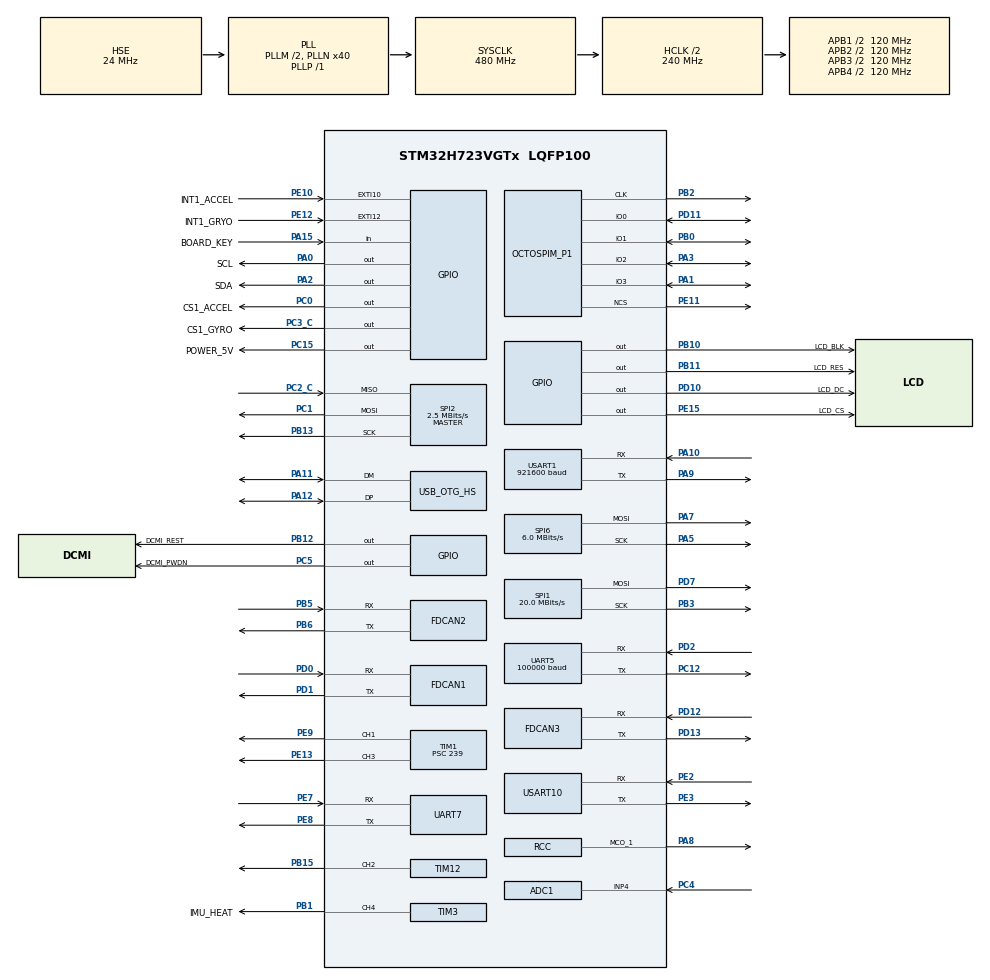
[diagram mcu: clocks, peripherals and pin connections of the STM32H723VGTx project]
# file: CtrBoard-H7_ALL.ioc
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ADC1.Channel-1\#ChannelRegularConversion=ADC_CHANNEL_4
ADC1.ClockPrescaler=ADC_CLOCK_ASYNC_DIV64
ADC1.ContinuousConvMode=ENABLE
ADC1.ConversionDataManagement=ADC_CONVERSIONDATA_DMA_CIRCULAR
ADC1.EnableRegularConversion=ENABLE
ADC1.NbrOfConversionFlag=1
ADC1.OffsetNumber-1\#ChannelRegularConversion=ADC_OFFSET_NONE
ADC1.OffsetSignedSaturation-1\#ChannelRegularConversion=DISABLE
ADC1.Rank-1\#ChannelRegularConversion=1
ADC1.SamplingTime-1\#ChannelRegularConversion=ADC_SAMPLETIME_32CYCLES_5
ADC1.master=1
CORTEX_M7.BaseAddress-Cortex_Memory_Protection_Unit_Region0_Settings=0x24000000
CORTEX_M7.CPU_DCache=Disabled
CORTEX_M7.CPU_ICache=Disabled
CORTEX_M7.Enable-Cortex_Memory_Protection_Unit_Region0_Settings=MPU_REGION_ENABLE
CORTEX_M7.IsBufferable-Cortex_Memory_Protection_Unit_Region0_Settings=MPU_ACCESS_BUFFERABLE
CORTEX_M7.IsCacheable-Cortex_Memory_Protection_Unit_Region0_Settings=MPU_ACCESS_CACHEABLE
CORTEX_M7.MPU_Control=__NULL
CORTEX_M7.Size-Cortex_Memory_Protection_Unit_Region0_Settings=MPU_REGION_SIZE_512B
CORTEX_M7.TypeExtField-Cortex_Memory_Protection_Unit_Region0_Settings=MPU_TEX_LEVEL1
Dma.ADC1.6.Direction=DMA_PERIPH_TO_MEMORY
Dma.ADC1.6.EventEnable=DISABLE
Dma.ADC1.6.FIFOMode=DMA_FIFOMODE_DISABLE
Dma.ADC1.6.Instance=DMA2_Stream2
Dma.ADC1.6.MemDataAlignment=DMA_MDATAALIGN_HALFWORD
Dma.ADC1.6.MemInc=DMA_MINC_ENABLE
Dma.ADC1.6.Mode=DMA_CIRCULAR
Dma.ADC1.6.PeriphDataAlignment=DMA_PDATAALIGN_HALFWORD
Dma.ADC1.6.PeriphInc=DMA_PINC_DISABLE
Dma.ADC1.6.Polarity=HAL_DMAMUX_REQ_GEN_RISING
Dma.ADC1.6.Priority=DMA_PRIORITY_LOW
Dma.ADC1.6.RequestNumber=1
Dma.ADC1.6.SignalID=NONE
Dma.ADC1.6.SyncEnable=DISABLE
Dma.ADC1.6.SyncPolarity=HAL_DMAMUX_SYNC_NO_EVENT
Dma.ADC1.6.SyncRequestNumber=1
Dma.ADC1.6.SyncSignalID=NONE
Dma.Request0=USART1_RX
Dma.Request1=UART5_RX
Dma.Request2=USART10_RX
Dma.Request3=UART7_TX
Dma.Request4=SPI2_RX
Dma.Request5=SPI2_TX
Dma.Request6=ADC1
Dma.SPI2_RX.4.Direction=DMA_PERIPH_TO_MEMORY
Dma.SPI2_RX.4.EventEnable=DISABLE
Dma.SPI2_RX.4.FIFOMode=DMA_FIFOMODE_DISABLE
Dma.SPI2_RX.4.Instance=DMA2_Stream0
Dma.SPI2_RX.4.MemDataAlignment=DMA_MDATAALIGN_BYTE
Dma.SPI2_RX.4.MemInc=DMA_MINC_ENABLE
Dma.SPI2_RX.4.Mode=DMA_NORMAL
Dma.SPI2_RX.4.PeriphDataAlignment=DMA_PDATAALIGN_BYTE
Dma.SPI2_RX.4.PeriphInc=DMA_PINC_DISABLE
Dma.SPI2_RX.4.Polarity=HAL_DMAMUX_REQ_GEN_RISING
Dma.SPI2_RX.4.Priority=DMA_PRIORITY_VERY_HIGH
Dma.SPI2_RX.4.RequestNumber=1
Dma.SPI2_RX.4.SignalID=NONE
Dma.SPI2_RX.4.SyncEnable=DISABLE
Dma.SPI2_RX.4.SyncPolarity=HAL_DMAMUX_SYNC_NO_EVENT
Dma.SPI2_RX.4.SyncRequestNumber=1
Dma.SPI2_RX.4.SyncSignalID=NONE
Dma.SPI2_TX.5.Direction=DMA_MEMORY_TO_PERIPH
Dma.SPI2_TX.5.EventEnable=DISABLE
Dma.SPI2_TX.5.FIFOMode=DMA_FIFOMODE_DISABLE
Dma.SPI2_TX.5.Instance=DMA2_Stream1
Dma.SPI2_TX.5.MemDataAlignment=DMA_MDATAALIGN_BYTE
Dma.SPI2_TX.5.MemInc=DMA_MINC_ENABLE
Dma.SPI2_TX.5.Mode=DMA_NORMAL
Dma.SPI2_TX.5.PeriphDataAlignment=DMA_PDATAALIGN_BYTE
Dma.SPI2_TX.5.PeriphInc=DMA_PINC_DISABLE
Dma.SPI2_TX.5.Polarity=HAL_DMAMUX_REQ_GEN_RISING
Dma.SPI2_TX.5.Priority=DMA_PRIORITY_HIGH
Dma.SPI2_TX.5.RequestNumber=1
Dma.SPI2_TX.5.SignalID=NONE
Dma.SPI2_TX.5.SyncEnable=DISABLE
Dma.SPI2_TX.5.SyncPolarity=HAL_DMAMUX_SYNC_NO_EVENT
Dma.SPI2_TX.5.SyncRequestNumber=1
Dma.SPI2_TX.5.SyncSignalID=NONE
Dma.UART5_RX.1.Direction=DMA_PERIPH_TO_MEMORY
Dma.UART5_RX.1.EventEnable=DISABLE
Dma.UART5_RX.1.FIFOMode=DMA_FIFOMODE_DISABLE
Dma.UART5_RX.1.Instance=DMA1_Stream1
Dma.UART5_RX.1.MemDataAlignment=DMA_MDATAALIGN_BYTE
Dma.UART5_RX.1.MemInc=DMA_MINC_ENABLE
Dma.UART5_RX.1.Mode=DMA_NORMAL
Dma.UART5_RX.1.PeriphDataAlignment=DMA_PDATAALIGN_BYTE
Dma.UART5_RX.1.PeriphInc=DMA_PINC_DISABLE
Dma.UART5_RX.1.Polarity=HAL_DMAMUX_REQ_GEN_RISING
Dma.UART5_RX.1.Priority=DMA_PRIORITY_VERY_HIGH
Dma.UART5_RX.1.RequestNumber=1
Dma.UART5_RX.1.SignalID=NONE
Dma.UART5_RX.1.SyncEnable=DISABLE
Dma.UART5_RX.1.SyncPolarity=HAL_DMAMUX_SYNC_NO_EVENT
Dma.UART5_RX.1.SyncRequestNumber=1
Dma.UART5_RX.1.SyncSignalID=NONE
Dma.UART7_TX.3.Direction=DMA_MEMORY_TO_PERIPH
Dma.UART7_TX.3.EventEnable=DISABLE
Dma.UART7_TX.3.FIFOMode=DMA_FIFOMODE_DISABLE
Dma.UART7_TX.3.Instance=DMA1_Stream3
Dma.UART7_TX.3.MemDataAlignment=DMA_MDATAALIGN_BYTE
Dma.UART7_TX.3.MemInc=DMA_MINC_ENABLE
Dma.UART7_TX.3.Mode=DMA_NORMAL
Dma.UART7_TX.3.PeriphDataAlignment=DMA_PDATAALIGN_BYTE
Dma.UART7_TX.3.PeriphInc=DMA_PINC_DISABLE
Dma.UART7_TX.3.Polarity=HAL_DMAMUX_REQ_GEN_RISING
Dma.UART7_TX.3.Priority=DMA_PRIORITY_MEDIUM
Dma.UART7_TX.3.RequestNumber=1
Dma.UART7_TX.3.SignalID=NONE
Dma.UART7_TX.3.SyncEnable=DISABLE
Dma.UART7_TX.3.SyncPolarity=HAL_DMAMUX_SYNC_NO_EVENT
Dma.UART7_TX.3.SyncRequestNumber=1
Dma.UART7_TX.3.SyncSignalID=NONE
Dma.USART10_RX.2.Direction=DMA_PERIPH_TO_MEMORY
Dma.USART10_RX.2.EventEnable=DISABLE
Dma.USART10_RX.2.FIFOMode=DMA_FIFOMODE_DISABLE
Dma.USART10_RX.2.Instance=DMA1_Stream2
Dma.USART10_RX.2.MemDataAlignment=DMA_MDATAALIGN_BYTE
Dma.USART10_RX.2.MemInc=DMA_MINC_ENABLE
Dma.USART10_RX.2.Mode=DMA_NORMAL
Dma.USART10_RX.2.PeriphDataAlignment=DMA_PDATAALIGN_BYTE
Dma.USART10_RX.2.PeriphInc=DMA_PINC_DISABLE
Dma.USART10_RX.2.Polarity=HAL_DMAMUX_REQ_GEN_RISING
Dma.USART10_RX.2.Priority=DMA_PRIORITY_HIGH
Dma.USART10_RX.2.RequestNumber=1
Dma.USART10_RX.2.SignalID=NONE
Dma.USART10_RX.2.SyncEnable=DISABLE
Dma.USART10_RX.2.SyncPolarity=HAL_DMAMUX_SYNC_NO_EVENT
Dma.USART10_RX.2.SyncRequestNumber=1
Dma.USART10_RX.2.SyncSignalID=NONE
Dma.USART1_RX.0.Direction=DMA_PERIPH_TO_MEMORY
Dma.USART1_RX.0.EventEnable=DISABLE
Dma.USART1_RX.0.FIFOMode=DMA_FIFOMODE_DISABLE
Dma.USART1_RX.0.Instance=DMA1_Stream0
Dma.USART1_RX.0.MemDataAlignment=DMA_MDATAALIGN_BYTE
Dma.USART1_RX.0.MemInc=DMA_MINC_ENABLE
Dma.USART1_RX.0.Mode=DMA_NORMAL
Dma.USART1_RX.0.PeriphDataAlignment=DMA_PDATAALIGN_BYTE
Dma.USART1_RX.0.PeriphInc=DMA_PINC_DISABLE
Dma.USART1_RX.0.Polarity=HAL_DMAMUX_REQ_GEN_RISING
Dma.USART1_RX.0.Priority=DMA_PRIORITY_VERY_HIGH
Dma.USART1_RX.0.RequestNumber=1
Dma.USART1_RX.0.SignalID=NONE
Dma.USART1_RX.0.SyncEnable=DISABLE
Dma.USART1_RX.0.SyncPolarity=HAL_DMAMUX_SYNC_NO_EVENT
Dma.USART1_RX.0.SyncRequestNumber=1
Dma.USART1_RX.0.SyncSignalID=NONE
FDCAN1.AutoRetransmission=ENABLE
FDCAN1.CalculateBaudRateNominal=1000000
FDCAN1.CalculateTimeBitNominal=1000
FDCAN1.CalculateTimeQuantumNominal=12.5
FDCAN1.DataSyncJumpWidth=2
FDCAN1.DataTimeSeg1=13
FDCAN1.DataTimeSeg2=2
FDCAN1.ExtFiltersNbr=0
FDCAN1.FrameFormat=FDCAN_FRAME_FD_BRS
FDCAN1.NominalPrescaler=1
FDCAN1.NominalSyncJumpWidth=20
FDCAN1.NominalTimeSeg1=59
FDCAN1.NominalTimeSeg2=20
FDCAN1.ProtocolException=ENABLE
FDCAN1.RxBuffersNbr=2
FDCAN1.RxFifo0ElmtsNbr=10
FDCAN1.RxFifo1ElmtsNbr=10
FDCAN1.StdFiltersNbr=1
FDCAN1.TxBuffersNbr=10
FDCAN1.TxEventsNbr=10
FDCAN1.TxFifoQueueElmtsNbr=10
FDCAN2.AutoRetransmission=ENABLE
FDCAN2.CalculateBaudRateNominal=1000000
FDCAN2.CalculateTimeBitNominal=1000
FDCAN2.CalculateTimeQuantumNominal=12.5
FDCAN2.DataSyncJumpWidth=2
FDCAN2.DataTimeSeg1=13
FDCAN2.DataTimeSeg2=2
FDCAN2.ExtFiltersNbr=0
FDCAN2.FrameFormat=FDCAN_FRAME_FD_BRS
FDCAN2.MessageRAMOffset=1024
FDCAN2.NominalPrescaler=1
FDCAN2.NominalSyncJumpWidth=20
FDCAN2.NominalTimeSeg1=59
FDCAN2.NominalTimeSeg2=20
FDCAN2.ProtocolException=ENABLE
FDCAN2.RxBuffersNbr=2
FDCAN2.RxFifo0ElmtsNbr=10
FDCAN2.RxFifo1ElmtsNbr=10
FDCAN2.StdFiltersNbr=1
FDCAN2.TxBuffersNbr=10
FDCAN2.TxEventsNbr=10
FDCAN2.TxFifoQueueElmtsNbr=10
FDCAN3.AutoRetransmission=ENABLE
FDCAN3.CalculateBaudRateNominal=1000000
FDCAN3.CalculateTimeBitNominal=1000
FDCAN3.CalculateTimeQuantumNominal=12.5
FDCAN3.DataSyncJumpWidth=2
FDCAN3.DataTimeSeg1=13
FDCAN3.DataTimeSeg2=2
FDCAN3.ExtFiltersNbr=0
FDCAN3.FrameFormat=FDCAN_FRAME_FD_BRS
FDCAN3.MessageRAMOffset=2048
FDCAN3.NominalPrescaler=1
FDCAN3.NominalSyncJumpWidth=20
FDCAN3.NominalTimeSeg1=59
FDCAN3.NominalTimeSeg2=20
FDCAN3.ProtocolException=ENABLE
FDCAN3.RxBuffersNbr=2
FDCAN3.RxFifo0ElmtsNbr=10
FDCAN3.RxFifo1ElmtsNbr=10
FDCAN3.StdFiltersNbr=1
FDCAN3.TxBuffersNbr=10
FDCAN3.TxEventsNbr=10
FDCAN3.TxFifoQueueElmtsNbr=10
FREERTOS.INCLUDE_eTaskGetState=1
FREERTOS.INCLUDE_uxTaskGetStackHighWaterMark=1
FREERTOS.INCLUDE_vTaskDelayUntil=1
FREERTOS.INCLUDE_xQueueGetMutexHolder=1
FREERTOS.INCLUDE_xTaskGetCurrentTaskHandle=1
FREERTOS.INCLUDE_xTimerPendFunctionCall=1
FREERTOS.Tasks01=AlgorithmTask,2,2048,AlgorithmTask_Entry,As weak,NULL,Dynamic,NULL,NULL;ChassisTask,2,2048,ChassisTask_Entry,As weak,NULL,Dynamic,NULL,NULL;CmdTask,2,2048,CmdTask_Entry,As weak,NULL,Dynamic,NULL,NULL;DMmotorTask,2,2048,DMmotorTask_Entry,As weak,NULL,Dynamic,NULL,NULL;RefereeTask,2,2048,RefereeTask_Entry,As weak,NULL,Dynamic,NULL,NULL;TranmissionTask,2,2048,TransmissionTask_Entry,As weak,NULL,Dynamic,NULL,NULL;UsartTask,2,2048,UsartTask_Entry,As weak,NULL,Dynamic,NULL,NULL;InsTask,3,2048,InsTask_Entry,As weak,NULL,Dynamic,NULL,NULL;DJmotorTask,2,1024,DJmotorTask_Entry,As weak,NULL,Dynamic,NULL,NULL;PowerTask,2,128,PowerTask_Entry,As weak,NULL,Dynamic,NULL,NULL
FREERTOS.configENABLE_FPU=1
FREERTOS.configTOTAL_HEAP_SIZE=200000
FREERTOS.configUSE_COUNTING_SEMAPHORES=1
FREERTOS.configUSE_RECURSIVE_MUTEXES=1
FREERTOS.configUSE_TIMERS=1
FREERTOS.configUSE_TRACE_FACILITY=1
Mcu.Family=STM32H7
Mcu.Name=STM32H723VGTx
Mcu.Package=LQFP100
NVIC.DMA1_Stream0_IRQn=true\:5\:0\:false\:false\:true\:true\:false\:true\:true
NVIC.DMA1_Stream1_IRQn=true\:5\:0\:false\:false\:true\:true\:false\:true\:true
NVIC.DMA1_Stream2_IRQn=true\:5\:0\:false\:false\:true\:true\:false\:true\:true
NVIC.DMA1_Stream3_IRQn=true\:5\:0\:false\:false\:true\:true\:false\:true\:true
NVIC.DMA2_Stream0_IRQn=true\:5\:0\:false\:false\:true\:false\:false\:true\:true
NVIC.DMA2_Stream1_IRQn=true\:5\:0\:false\:false\:true\:false\:false\:true\:true
NVIC.DMA2_Stream2_IRQn=true\:5\:0\:false\:false\:true\:false\:false\:true\:true
NVIC.FDCAN1_IT0_IRQn=true\:5\:0\:false\:false\:true\:true\:true\:true\:true
NVIC.FDCAN1_IT1_IRQn=true\:5\:0\:false\:false\:true\:true\:true\:true\:true
NVIC.FDCAN2_IT0_IRQn=true\:5\:0\:false\:false\:true\:true\:true\:true\:true
NVIC.FDCAN2_IT1_IRQn=true\:5\:0\:false\:false\:true\:true\:true\:true\:true
NVIC.FDCAN3_IT0_IRQn=true\:5\:0\:false\:false\:true\:true\:true\:true\:true
NVIC.FDCAN3_IT1_IRQn=true\:5\:0\:false\:false\:true\:true\:true\:true\:true
NVIC.FDCAN_CAL_IRQn=true\:5\:0\:false\:false\:true\:true\:true\:true\:true
NVIC.OTG_HS_IRQn=true\:5\:0\:false\:false\:true\:true\:true\:true\:true
NVIC.PriorityGroup=NVIC_PRIORITYGROUP_4
NVIC.SPI2_IRQn=true\:5\:0\:false\:false\:true\:true\:false\:true\:true
NVIC.TIM23_IRQn=true\:15\:0\:false\:false\:true\:false\:false\:true\:true
NVIC.TimeBase=TIM23_IRQn
NVIC.TimeBaseIP=TIM23
NVIC.UART5_IRQn=true\:5\:0\:false\:false\:true\:true\:true\:true\:true
NVIC.UART7_IRQn=true\:5\:0\:false\:false\:true\:true\:true\:true\:true
NVIC.USART10_IRQn=true\:5\:0\:false\:false\:true\:true\:true\:true\:true
NVIC.USART1_IRQn=true\:5\:0\:false\:false\:true\:true\:true\:true\:true
OCTOSPI2.ClockMode=HAL_OSPI_CLOCK_MODE_3
OCTOSPI2.ClockPrescaler=3
OCTOSPI2.DeviceSize=23
OCTOSPI2.FifoThreshold=8
OCTOSPI2.SampleShifting=HAL_OSPI_SAMPLE_SHIFTING_HALFCYCLE
PA0.GPIO_Label=SCL
PA0.GPIO_PuPd=GPIO_PULLUP
PA0.Signal=GPIO_Output
PA1.Mode=OCTOSPI2_IOL_Port1L
PA1.Signal=OCTOSPIM_P1_IO3
PA10.GPIO_Speed=GPIO_SPEED_FREQ_VERY_HIGH
PA10.Mode=Asynchronous
PA10.Signal=USART1_RX
PA11.Mode=Device_Only_FS
PA11.Signal=USB_OTG_HS_DM
PA12.Mode=Device_Only_FS
PA12.Signal=USB_OTG_HS_DP
PA13(JTMS/SWDIO).Mode=Serial_Wire
PA13(JTMS/SWDIO).Signal=DEBUG_JTMS-SWDIO
PA14(JTCK/SWCLK).Mode=Serial_Wire
PA14(JTCK/SWCLK).Signal=DEBUG_JTCK-SWCLK
PA15(JTDI).GPIO_Label=BOARD_KEY
PA15(JTDI).Signal=GPIO_Input
PA2.GPIO_Label=SDA
PA2.GPIO_PuPd=GPIO_PULLUP
PA2.Signal=GPIO_Output
PA3.Mode=OCTOSPI2_IOL_Port1L
PA3.Signal=OCTOSPIM_P1_IO2
PA5.GPIO_Speed=GPIO_SPEED_FREQ_HIGH
PA5.Mode=TX_Only_Simplex_Unidirect_Master
PA5.Signal=SPI6_SCK
PA7.GPIO_Speed=GPIO_SPEED_FREQ_HIGH
PA7.Mode=TX_Only_Simplex_Unidirect_Master
PA7.Signal=SPI6_MOSI
PA8.Mode=Clock-out-1
PA8.Signal=RCC_MCO_1
PA9.GPIO_Speed=GPIO_SPEED_FREQ_VERY_HIGH
PA9.Mode=Asynchronous
PA9.Signal=USART1_TX
PB0.Mode=OCTOSPI2_IOL_Port1L
PB0.Signal=OCTOSPIM_P1_IO1
PB1.GPIO_Label=IMU_HEAT
PB1.GPIO_PuPd=GPIO_PULLUP
PB1.GPIO_Speed=GPIO_SPEED_FREQ_VERY_HIGH
PB1.Signal=S_TIM3_CH4
PB10.GPIO_Label=LCD_BLK
PB10.GPIO_Speed=GPIO_SPEED_FREQ_HIGH
PB10.Signal=GPIO_Output
PB11.GPIO_Label=LCD_RES
PB11.GPIO_Speed=GPIO_SPEED_FREQ_HIGH
PB11.Signal=GPIO_Output
PB12.GPIO_Label=DCMI_REST
PB12.GPIO_PuPd=GPIO_PULLUP
PB12.GPIO_Speed=GPIO_SPEED_FREQ_VERY_HIGH
PB12.PinState=GPIO_PIN_SET
PB12.Signal=GPIO_Output
PB13.GPIO_Speed=GPIO_SPEED_FREQ_VERY_HIGH
PB13.Mode=Full_Duplex_Master
PB13.Signal=SPI2_SCK
PB15.Signal=S_TIM12_CH2
PB2.Mode=O2_P1_CLK
PB2.Signal=OCTOSPIM_P1_CLK
PB3(JTDO/TRACESWO).GPIO_Speed=GPIO_SPEED_FREQ_HIGH
PB3(JTDO/TRACESWO).Mode=TX_Only_Simplex_Unidirect_Master
PB3(JTDO/TRACESWO).Signal=SPI1_SCK
PB5.GPIO_Speed=GPIO_SPEED_FREQ_VERY_HIGH
PB5.Mode=FDCAN_Activate
PB5.Signal=FDCAN2_RX
PB6.GPIO_FM6=__NULL
PB6.GPIO_Speed=GPIO_SPEED_FREQ_VERY_HIGH
PB6.Mode=FDCAN_Activate
PB6.Signal=FDCAN2_TX
PB8.Signal=I2C1_SCL
PB9.Signal=I2C1_SDA
PC0.GPIO_Label=CS1_ACCEL
PC0.GPIO_PuPd=GPIO_PULLUP
PC0.GPIO_Speed=GPIO_SPEED_FREQ_VERY_HIGH
PC0.PinState=GPIO_PIN_SET
PC0.Signal=GPIO_Output
PC1.GPIO_Speed=GPIO_SPEED_FREQ_VERY_HIGH
PC1.Mode=Full_Duplex_Master
PC1.Signal=SPI2_MOSI
PC12.GPIO_Speed=GPIO_SPEED_FREQ_VERY_HIGH
PC12.Mode=Asynchronous
PC12.Signal=UART5_TX
PC15-OSC32_OUT.GPIO_Label=POWER_5V
PC15-OSC32_OUT.GPIO_PuPd=GPIO_PULLUP
PC15-OSC32_OUT.PinState=GPIO_PIN_SET
PC15-OSC32_OUT.Signal=GPIO_Output
PC2_C.GPIO_Speed=GPIO_SPEED_FREQ_VERY_HIGH
PC2_C.Mode=Full_Duplex_Master
PC2_C.Signal=SPI2_MISO
PC3_C.GPIO_Label=CS1_GYRO
PC3_C.GPIO_PuPd=GPIO_PULLUP
PC3_C.GPIO_Speed=GPIO_SPEED_FREQ_VERY_HIGH
PC3_C.PinState=GPIO_PIN_SET
PC3_C.Signal=GPIO_Output
PC4.Signal=ADCx_INP4
PC5.GPIO_Label=DCMI_PWDN
PC5.GPIO_PuPd=GPIO_NOPULL
PC5.GPIO_Speed=GPIO_SPEED_FREQ_VERY_HIGH
PC5.PinState=GPIO_PIN_SET
PC5.Signal=GPIO_Output
PD0.GPIO_Speed=GPIO_SPEED_FREQ_VERY_HIGH
PD0.Mode=FDCAN_Activate
PD0.Signal=FDCAN1_RX
PD1.GPIO_Speed=GPIO_SPEED_FREQ_VERY_HIGH
PD1.Mode=FDCAN_Activate
PD1.Signal=FDCAN1_TX
PD10.GPIO_Label=LCD_DC
PD10.GPIO_Speed=GPIO_SPEED_FREQ_HIGH
PD10.Signal=GPIO_Output
PD11.Mode=OCTOSPI2_IOL_Port1L
PD11.Signal=OCTOSPIM_P1_IO0
PD12.GPIO_Speed=GPIO_SPEED_FREQ_VERY_HIGH
PD12.Mode=FDCAN_Activate
PD12.Signal=FDCAN3_RX
PD13.GPIO_Speed=GPIO_SPEED_FREQ_VERY_HIGH
PD13.Mode=FDCAN_Activate
PD13.Signal=FDCAN3_TX
PD2.GPIO_Speed=GPIO_SPEED_FREQ_VERY_HIGH
PD2.Mode=Asynchronous
PD2.Signal=UART5_RX
PD4.Signal=USART2_DE
PD5.Signal=USART2_TX
PD6.Signal=USART2_RX
PD7.GPIO_Speed=GPIO_SPEED_FREQ_HIGH
PD7.Mode=TX_Only_Simplex_Unidirect_Master
PD7.Signal=SPI1_MOSI
PE10.GPIO_Label=INT1_ACCEL
PE10.GPIO_PuPd=GPIO_PULLUP
PE10.Signal=GPXTI10
PE11.Mode=OCTOSPI2_Port1_NCS
PE11.Signal=OCTOSPIM_P1_NCS
PE12.GPIO_Label=INT1_GRYO
PE12.GPIO_PuPd=GPIO_PULLUP
PE12.Signal=GPXTI12
PE13.Signal=S_TIM1_CH3
PE15.GPIO_Label=LCD_CS
PE15.GPIO_Speed=GPIO_SPEED_FREQ_HIGH
PE15.Signal=GPIO_Output
PE2.GPIO_Speed=GPIO_SPEED_FREQ_VERY_HIGH
PE2.Mode=Asynchronous
PE2.Signal=USART10_RX
PE3.GPIO_Speed=GPIO_SPEED_FREQ_VERY_HIGH
PE3.Mode=Asynchronous
PE3.Signal=USART10_TX
PE7.GPIO_Speed=GPIO_SPEED_FREQ_VERY_HIGH
PE7.Mode=Asynchronous
PE7.Signal=UART7_RX
PE8.GPIO_Speed=GPIO_SPEED_FREQ_VERY_HIGH
PE8.Mode=Asynchronous
PE8.Signal=UART7_TX
PE9.Signal=S_TIM1_CH1
PH0-OSC_IN.Mode=HSE-External-Oscillator
PH0-OSC_IN.Signal=RCC_OSC_IN
PH1-OSC_OUT.Mode=HSE-External-Oscillator
PH1-OSC_OUT.Signal=RCC_OSC_OUT
ProjectManager.HeapSize=0x2000
ProjectManager.StackSize=0x2000
ProjectManager.TargetToolchain=STM32CubeIDE
RCC.ADCFreq_Value=96000000
RCC.APB1Freq_Value=120000000
RCC.APB2Freq_Value=120000000
RCC.APB3Freq_Value=120000000
RCC.APB4Freq_Value=120000000
RCC.CortexFreq_Value=480000000
RCC.D1PPRE=RCC_APB3_DIV2
RCC.D2PPRE1=RCC_APB1_DIV2
RCC.D2PPRE2=RCC_APB2_DIV2
RCC.D3PPRE=RCC_APB4_DIV2
RCC.DIVM1=2
RCC.DIVM2=2
RCC.DIVM3=2
RCC.DIVN1=40
RCC.DIVN2=16
RCC.DIVN3=16
RCC.DIVP1=1
RCC.DIVQ1=6
RCC.EnbaleCSS=false
RCC.HCLKFreq_Value=240000000
RCC.HPRE=RCC_HCLK_DIV2
RCC.HSE_VALUE=24000000
RCC.PLL2FRACN=0
RCC.PLL2_VCI_Range-AdvancedSettings=RCC_PLL2VCIRANGE_0
RCC.PLL2_VCO_SEL-AdvancedSettings=RCC_PLL2VCOMEDIUM
RCC.PLL3FRACN=0
RCC.PLL3_VCO_SEL-AdvancedSettings=RCC_PLL3VCOMEDIUM
RCC.PLLFRACN=0
RCC.PLLSourceVirtual=RCC_PLLSOURCE_HSE
RCC.SPI6CLockSelection=RCC_SPI6CLKSOURCE_HSE
RCC.SYSCLKFreq_VALUE=480000000
RCC.SYSCLKSource=RCC_SYSCLKSOURCE_PLLCLK
RCC.USBCLockSelection=RCC_USBCLKSOURCE_HSI48
RCC.USBFreq_Value=48000000
SH.ADCx_INP4.0=ADC1_INP4,IN4-Single-Ended
SH.S_TIM12_CH2.0=TIM12_CH2,PWM Generation2 CH2
SH.S_TIM1_CH1.0=TIM1_CH1,PWM Generation1 CH1
SH.S_TIM1_CH3.0=TIM1_CH3,PWM Generation3 CH3
SH.S_TIM3_CH4.0=TIM3_CH4,PWM Generation4 CH4
SPI1.BaudRatePrescaler=SPI_BAUDRATEPRESCALER_4
SPI1.CLKPolarity=SPI_POLARITY_HIGH
SPI1.CalculateBaudRate=20.0 MBits/s
SPI1.DataSize=SPI_DATASIZE_8BIT
SPI1.Direction=SPI_DIRECTION_2LINES_TXONLY
SPI1.Mode=SPI_MODE_MASTER
SPI1.VirtualType=VM_MASTER
SPI2.BaudRatePrescaler=SPI_BAUDRATEPRESCALER_32
SPI2.CLKPhase=SPI_PHASE_2EDGE
SPI2.CLKPolarity=SPI_POLARITY_HIGH
SPI2.CalculateBaudRate=2.5 MBits/s
SPI2.DataSize=SPI_DATASIZE_8BIT
SPI2.Direction=SPI_DIRECTION_2LINES
SPI2.Mode=SPI_MODE_MASTER
SPI2.VirtualType=VM_MASTER
SPI6.BaudRatePrescaler=SPI_BAUDRATEPRESCALER_4
SPI6.CLKPhase=SPI_PHASE_2EDGE
SPI6.CalculateBaudRate=6.0 MBits/s
SPI6.DataSize=SPI_DATASIZE_8BIT
SPI6.Direction=SPI_DIRECTION_2LINES_TXONLY
SPI6.FifoThreshold=SPI_FIFO_THRESHOLD_02DATA
SPI6.Mode=SPI_MODE_MASTER
SPI6.VirtualType=VM_MASTER
STMicroelectronics.X-CUBE-ALGOBUILD.1.4.0.LibraryCcDSPOoLibraryJjDSPOoLibrary=true
TIM1.Channel-PWM\ Generation1\ CH1=TIM_CHANNEL_1
TIM1.Channel-PWM\ Generation3\ CH3=TIM_CHANNEL_3
TIM1.Period=19999
TIM1.Prescaler=239
TIM1.Pulse-PWM\ Generation1\ CH1=500
TIM12.Channel-PWM\ Generation2\ CH2=TIM_CHANNEL_2
TIM12.Prescaler=240-1
TIM2.AutoReloadPreload=TIM_AUTORELOAD_PRELOAD_ENABLE
TIM2.Period=1000
TIM2.Prescaler=71
TIM3.AutoReloadPreload=TIM_AUTORELOAD_PRELOAD_DISABLE
TIM3.Channel-PWM\ Generation4\ CH4=TIM_CHANNEL_4
TIM3.Period=2000-1
TIM3.Prescaler=240-1
UART5.BaudRate=100000
UART5.Parity=PARITY_EVEN
UART5.StopBits=UART_STOPBITS_2
UART5.WordLength=WORDLENGTH_9B
USART1.BaudRate=921600
USART1.VirtualMode-Asynchronous=VM_ASYNC
USART10.VirtualMode=VM_ASYNC
USB_DEVICE.CLASS_NAME_HS=CDC
USB_DEVICE.VirtualMode=Cdc
USB_DEVICE.VirtualModeHS=Cdc_HS
USB_OTG_HS.VirtualMode-Device_Only_FS=Device_Only_FS
VP_FREERTOS_VS_CMSIS_V1.Mode=CMSIS_V1
VP_MEMORYMAP_VS_MEMORYMAP.Mode=CurAppReg
VP_OCTOSPI2_VS_quad.Mode=quad_mode
VP_STMicroelectronics.X-CUBE-ALGOBUILD_VS_DSPOoLibraryJjLibrary_1.4.0_1.4.0.Mode=DSPOoLibraryJjLibrary
VP_SYS_VS_tim23.Mode=TIM23
VP_TIM12_VS_ClockSourceINT.Mode=Internal
VP_TIM1_VS_ClockSourceINT.Mode=Internal
VP_TIM2_VS_ClockSourceINT.Mode=Internal
VP_TIM3_VS_ClockSourceINT.Mode=Internal
VP_USB_DEVICE_VS_USB_DEVICE_CDC_HS.Mode=CDC_HS
board=custom

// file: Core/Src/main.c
/* USER CODE BEGIN Header */
/**
  ******************************************************************************
  * @file           : main.c
  * @brief          : Main program body
  ******************************************************************************
  * @attention
  *
  * Copyright (c) 2025 STMicroelectronics.
  * All rights reserved.
  *
  * This software is licensed under terms that can be found in the LICENSE file
  * in the root directory of this software component.
  * If no LICENSE file comes with this software, it is provided AS-IS.
  *
  ******************************************************************************
  */
/* USER CODE END Header */
#include "main.h"
#include "cmsis_os.h"
#include "adc.h"
#include "dma.h"
#include "fdcan.h"
#include "memorymap.h"
#include "octospi.h"
#include "spi.h"
#include "tim.h"
#include "usart.h"
#include "usb_device.h"
#include "gpio.h"

/* USER CODE BEGIN Includes */
#include "drv_dwt.h"
#include "bsp_fdcan.h"
#include "dm_motor_ctrl.h"
#include "BMI088driver.h"
#include "robot.h"
#include "bsp_log.h"
/* USER CODE END Includes */

/* USER CODE BEGIN PTD */

QueueHandle_t xKalmanOneQueue = NULL; // 队列句柄
QueueHandle_t xControlQueue = NULL; // 队列句柄
/* USER CODE END PTD */

/* USER CODE BEGIN PD */
#define CONTROL_QUEUE_LENGTH 12    // 队列长度，可根据需要调整
#define CONTROL_QUEUE_ITEM_SIZE sizeof(float)*6 // 每个队列元素占用的字节数

#define KalmanOne_QUEUE_LENGTH 12    // 队列长度，可根据需要调整
#define KalmanOne_QUEUE_ITEM_SIZE sizeof(float)*6 // 每个队列元素占用的字节数
/* USER CODE END PD */

void SystemClock_Config(void);
void MX_FREERTOS_Init(void);

int main(void)
{

  /* MCU Configuration--------------------------------------------------------*/

  /* Reset of all peripherals, Initializes the Flash interface and the Systick. */
  HAL_Init();

  /* Configure the system clock */
  SystemClock_Config();

  /* Initialize all configured peripherals */
  MX_GPIO_Init();
  MX_DMA_Init();
  MX_FDCAN1_Init();
  MX_FDCAN2_Init();
  MX_FDCAN3_Init();
  MX_USART1_UART_Init();
  MX_UART5_Init();
  MX_USART10_UART_Init();
  MX_UART7_Init();
  MX_SPI2_Init();
  MX_TIM3_Init();
  MX_SPI6_Init();
  MX_TIM12_Init();
  MX_ADC1_Init();
  MX_SPI1_Init();
  MX_TIM2_Init();
  MX_OCTOSPI2_Init();
  MX_TIM1_Init();
  /* USER CODE BEGIN 2 */
    MX_USB_DEVICE_Init();
    dwt_init();
    BMI088_init(&hspi2);  // 陀螺仪已经校准
    HAL_TIM_PWM_Start(&htim1, TIM_CHANNEL_3);//初始化pwm
    HAL_TIM_PWM_Start(&htim1, TIM_CHANNEL_1);
    // 达妙4310驱动设置
    HAL_GPIO_WritePin(GPIOC, GPIO_PIN_14, GPIO_PIN_SET);
    HAL_GPIO_WritePin(GPIOC, GPIO_PIN_15, GPIO_PIN_SET);
    bsp_fdcan_set_baud(&hfdcan1, CAN_CLASS, CAN_BR_1M);
    bsp_fdcan_set_baud(&hfdcan2, CAN_CLASS, CAN_BR_1M);
    bsp_fdcan_set_baud(&hfdcan3, CAN_CLASS, CAN_BR_1M);
    bsp_can_init();
    dm_motor_init();
    BSPLogInit();
    robot_init();
    LOGINFO("START");
    // 创建队列
    xKalmanOneQueue = xQueueCreate(KalmanOne_QUEUE_LENGTH, KalmanOne_QUEUE_ITEM_SIZE);
    if (xKalmanOneQueue == NULL) {
        // 队列创建失败，进入错误处理
        Error_Handler();
    }

    xControlQueue = xQueueCreate(CONTROL_QUEUE_LENGTH, CONTROL_QUEUE_ITEM_SIZE);
    if (xControlQueue == NULL) {
        // 队列创建失败，进入错误处理
        Error_Handler();
    }

  /* USER CODE END 2 */

  /* Call init function for freertos objects (in cmsis_os2.c) */
  MX_FREERTOS_Init();

  /* Start scheduler */
  osKernelStart();

  /* We should never get here as control is now taken by the scheduler */

  /* Infinite loop */
  while (1)
  {

  }
}

void SystemClock_Config(void)
{
  RCC_OscInitTypeDef RCC_OscInitStruct = {0};
  RCC_ClkInitTypeDef RCC_ClkInitStruct = {0};

  /** Supply configuration update enable
  */
  HAL_PWREx_ConfigSupply(PWR_LDO_SUPPLY);

  /** Configure the main internal regulator output voltage
  */
  __HAL_PWR_VOLTAGESCALING_CONFIG(PWR_REGULATOR_VOLTAGE_SCALE0);

  while(!__HAL_PWR_GET_FLAG(PWR_FLAG_VOSRDY)) {}

  /** Initializes the RCC Oscillators according to the specified parameters
  * in the RCC_OscInitTypeDef structure.
  */
  RCC_OscInitStruct.OscillatorType = RCC_OSCILLATORTYPE_HSI48|RCC_OSCILLATORTYPE_HSI
                              |RCC_OSCILLATORTYPE_HSE;
  RCC_OscInitStruct.HSEState = RCC_HSE_ON;
  RCC_OscInitStruct.HSIState = RCC_HSI_DIV1;
  RCC_OscInitStruct.HSICalibrationValue = 64;
  RCC_OscInitStruct.HSI48State = RCC_HSI48_ON;
  RCC_OscInitStruct.PLL.PLLState = RCC_PLL_ON;
  RCC_OscInitStruct.PLL.PLLSource = RCC_PLLSOURCE_HSE;
  RCC_OscInitStruct.PLL.PLLM = 2;
  RCC_OscInitStruct.PLL.PLLN = 40;
  RCC_OscInitStruct.PLL.PLLP = 1;
  RCC_OscInitStruct.PLL.PLLQ = 6;
  RCC_OscInitStruct.PLL.PLLR = 2;
  RCC_OscInitStruct.PLL.PLLRGE = RCC_PLL1VCIRANGE_3;
  RCC_OscInitStruct.PLL.PLLVCOSEL = RCC_PLL1VCOWIDE;
  RCC_OscInitStruct.PLL.PLLFRACN = 0;
  if (HAL_RCC_OscConfig(&RCC_OscInitStruct) != HAL_OK)
  {
    Error_Handler();
  }

  /** Initializes the CPU, AHB and APB buses clocks
  */
  RCC_ClkInitStruct.ClockType = RCC_CLOCKTYPE_HCLK|RCC_CLOCKTYPE_SYSCLK
                              |RCC_CLOCKTYPE_PCLK1|RCC_CLOCKTYPE_PCLK2
                              |RCC_CLOCKTYPE_D3PCLK1|RCC_CLOCKTYPE_D1PCLK1;
  RCC_ClkInitStruct.SYSCLKSource = RCC_SYSCLKSOURCE_PLLCLK;
  RCC_ClkInitStruct.SYSCLKDivider = RCC_SYSCLK_DIV1;
  RCC_ClkInitStruct.AHBCLKDivider = RCC_HCLK_DIV2;
  RCC_ClkInitStruct.APB3CLKDivider = RCC_APB3_DIV2;
  RCC_ClkInitStruct.APB1CLKDivider = RCC_APB1_DIV2;
  RCC_ClkInitStruct.APB2CLKDivider = RCC_APB2_DIV2;
  RCC_ClkInitStruct.APB4CLKDivider = RCC_APB4_DIV2;

  if (HAL_RCC_ClockConfig(&RCC_ClkInitStruct, FLASH_LATENCY_3) != HAL_OK)
  {
    Error_Handler();
  }
  HAL_RCC_MCOConfig(RCC_MCO1, RCC_MCO1SOURCE_HSI, RCC_MCODIV_1);
}

void HAL_TIM_PeriodElapsedCallback(TIM_HandleTypeDef *htim)
{
  if (htim->Instance == TIM23)
  {
    HAL_IncTick();
  }
}

void Error_Handler(void)
{
  __disable_irq();
  while (1)
  {
  }
}

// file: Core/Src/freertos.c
/* USER CODE BEGIN Header */
/**
  ******************************************************************************
  * File Name          : freertos.c
  * Description        : Code for freertos applications
  ******************************************************************************
  * @attention
  *
  * Copyright (c) 2025 STMicroelectronics.
  * All rights reserved.
  *
  * This software is licensed under terms that can be found in the LICENSE file
  * in the root directory of this software component.
  * If no LICENSE file comes with this software, it is provided AS-IS.
  *
  ******************************************************************************
  */
/* USER CODE END Header */

#include "FreeRTOS.h"
#include "task.h"
#include "main.h"
#include "cmsis_os.h"

osThreadId AlgorithmTaskHandle;
osThreadId ChassisTaskHandle;
osThreadId CmdTaskHandle;
osThreadId DMmotorTaskHandle;
osThreadId RefereeTaskHandle;
osThreadId TranmissionTaskHandle;
osThreadId UsartTaskHandle;
osThreadId InsTaskHandle;
osThreadId DJmotorTaskHandle;
osThreadId PowerTaskHandle;

void AlgorithmTask_Entry(void const * argument);
void ChassisTask_Entry(void const * argument);
void CmdTask_Entry(void const * argument);
void DMmotorTask_Entry(void const * argument);
void RefereeTask_Entry(void const * argument);
void TransmissionTask_Entry(void const * argument);
void UsartTask_Entry(void const * argument);
void InsTask_Entry(void const * argument);
void DJmotorTask_Entry(void const * argument);
void PowerTask_Entry(void const * argument);

extern void MX_USB_DEVICE_Init(void);
void MX_FREERTOS_Init(void); /* (MISRA C 2004 rule 8.1) */

/* GetIdleTaskMemory prototype (linked to static allocation support) */
void vApplicationGetIdleTaskMemory( StaticTask_t **ppxIdleTaskTCBBuffer, StackType_t **ppxIdleTaskStackBuffer, uint32_t *pulIdleTaskStackSize );

/* GetTimerTaskMemory prototype (linked to static allocation support) */
void vApplicationGetTimerTaskMemory( StaticTask_t **ppxTimerTaskTCBBuffer, StackType_t **ppxTimerTaskStackBuffer, uint32_t *pulTimerTaskStackSize );

/* USER CODE BEGIN GET_IDLE_TASK_MEMORY */
static StaticTask_t xIdleTaskTCBBuffer;
static StackType_t xIdleStack[configMINIMAL_STACK_SIZE];

void vApplicationGetIdleTaskMemory( StaticTask_t **ppxIdleTaskTCBBuffer, StackType_t **ppxIdleTaskStackBuffer, uint32_t *pulIdleTaskStackSize )
{
  *ppxIdleTaskTCBBuffer = &xIdleTaskTCBBuffer;
  *ppxIdleTaskStackBuffer = &xIdleStack[0];
  *pulIdleTaskStackSize = configMINIMAL_STACK_SIZE;
  /* place for user code */
}
/* USER CODE END GET_IDLE_TASK_MEMORY */

/* USER CODE BEGIN GET_TIMER_TASK_MEMORY */
static StaticTask_t xTimerTaskTCBBuffer;
static StackType_t xTimerStack[configTIMER_TASK_STACK_DEPTH];

void vApplicationGetTimerTaskMemory( StaticTask_t **ppxTimerTaskTCBBuffer, StackType_t **ppxTimerTaskStackBuffer, uint32_t *pulTimerTaskStackSize )
{
  *ppxTimerTaskTCBBuffer = &xTimerTaskTCBBuffer;
  *ppxTimerTaskStackBuffer = &xTimerStack[0];
  *pulTimerTaskStackSize = configTIMER_TASK_STACK_DEPTH;
  /* place for user code */
}
/* USER CODE END GET_TIMER_TASK_MEMORY */

void MX_FREERTOS_Init(void) {

  /* Create the thread(s) */
  /* definition and creation of AlgorithmTask */
  osThreadDef(AlgorithmTask, AlgorithmTask_Entry, osPriorityHigh, 0, 2048);
  AlgorithmTaskHandle = osThreadCreate(osThread(AlgorithmTask), NULL);

  /* definition and creation of ChassisTask */
  osThreadDef(ChassisTask, ChassisTask_Entry, osPriorityHigh, 0, 2048);
  ChassisTaskHandle = osThreadCreate(osThread(ChassisTask), NULL);

  /* definition and creation of CmdTask */
  osThreadDef(CmdTask, CmdTask_Entry, osPriorityHigh, 0, 2048);
  CmdTaskHandle = osThreadCreate(osThread(CmdTask), NULL);

  /* definition and creation of DMmotorTask */
  osThreadDef(DMmotorTask, DMmotorTask_Entry, osPriorityHigh, 0, 2048);
  DMmotorTaskHandle = osThreadCreate(osThread(DMmotorTask), NULL);

  /* definition and creation of RefereeTask */
  osThreadDef(RefereeTask, RefereeTask_Entry, osPriorityHigh, 0, 2048);
  RefereeTaskHandle = osThreadCreate(osThread(RefereeTask), NULL);

  /* definition and creation of TranmissionTask */
  osThreadDef(TranmissionTask, TransmissionTask_Entry, osPriorityHigh, 0, 2048);
  TranmissionTaskHandle = osThreadCreate(osThread(TranmissionTask), NULL);

  /* definition and creation of UsartTask */
  osThreadDef(UsartTask, UsartTask_Entry, osPriorityHigh, 0, 2048);
  UsartTaskHandle = osThreadCreate(osThread(UsartTask), NULL);

  /* definition and creation of InsTask */
  osThreadDef(InsTask, InsTask_Entry, osPriorityRealtime, 0, 2048);
  InsTaskHandle = osThreadCreate(osThread(InsTask), NULL);

  /* definition and creation of DJmotorTask */
  osThreadDef(DJmotorTask, DJmotorTask_Entry, osPriorityHigh, 0, 1024);
  DJmotorTaskHandle = osThreadCreate(osThread(DJmotorTask), NULL);

  /* definition and creation of PowerTask */
  osThreadDef(PowerTask, PowerTask_Entry, osPriorityHigh, 0, 128);
  PowerTaskHandle = osThreadCreate(osThread(PowerTask), NULL);

}

__weak void AlgorithmTask_Entry(void const * argument)
{
  /* init code for USB_DEVICE */
  MX_USB_DEVICE_Init();
  for(;;)
  {
    osDelay(1);
  }
}

__weak void ChassisTask_Entry(void const * argument)
{
  for(;;)
  {
    osDelay(1);
  }
}

__weak void CmdTask_Entry(void const * argument)
{
  for(;;)
  {
    osDelay(1);
  }
}

__weak void DMmotorTask_Entry(void const * argument)
{
  for(;;)
  {
    osDelay(1);
  }
}

__weak void RefereeTask_Entry(void const * argument)
{
  for(;;)
  {
    osDelay(1);
  }
}

__weak void TransmissionTask_Entry(void const * argument)
{
  for(;;)
  {
    osDelay(1);
  }
}

__weak void UsartTask_Entry(void const * argument)
{
  for(;;)
  {
    osDelay(1);
  }
}

__weak void InsTask_Entry(void const * argument)
{
  for(;;)
  {
    osDelay(1);
  }
}

__weak void DJmotorTask_Entry(void const * argument)
{
  for(;;)
  {
    osDelay(1);
  }
}

__weak void PowerTask_Entry(void const * argument)
{
  for(;;)
  {
    osDelay(1);
  }
}
